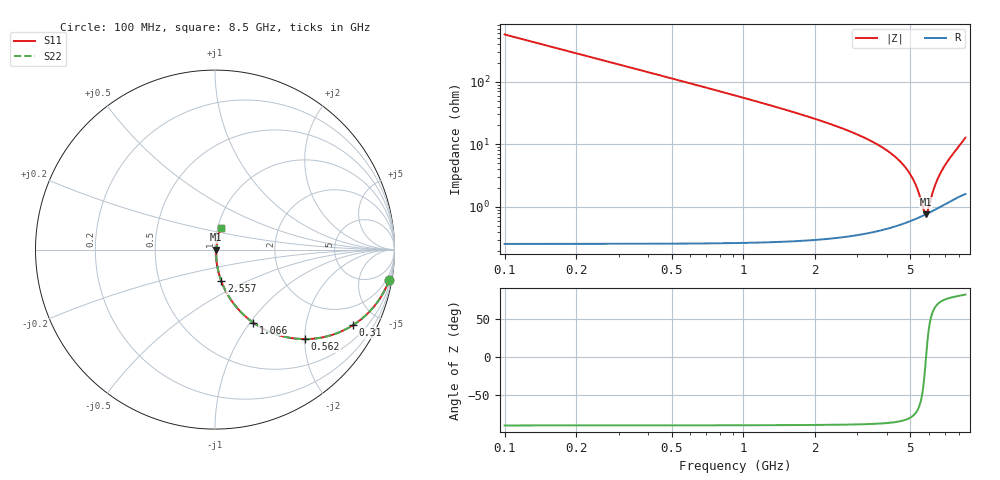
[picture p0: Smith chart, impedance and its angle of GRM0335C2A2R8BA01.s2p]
!Murata Part Number: GRM0335C2A2R8BA01
!These Parameters are Measured in Series Mode Connection
!Data Generated on Mar 30, 2021
!  o--ll--o
!Port1  Port2
!  o------o
!Operation Temp=25[degC], DC Bias Voltage=0[V]
!Freq. Start=100[MHz] Stop=9[GHz] 401[Steps]
# Hz S RI R 50
!Freq.(Hz) S11(Real) S11(Imag) S21(Real) S21(Imag) S12(Real) S12(Imag) S22(Real) S22(Imag)
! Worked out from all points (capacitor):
!   401 points, 100 MHz to 8.5 GHz, reference 50 ohm
!   read as one part in series: C = 2.8 pF near 142 MHz
!   lowest |Z| = 760 mohm at 5.812 GHz (marker M1)
!   series resonance near 5.815 GHz, so ESL is about 270 pH
!   S11 on the Smith chart (normalised r, x): 100 MHz: 1, -11; 310 MHz: 1.01, -3.66; 562 MHz: 1.01, -2.01; 1.066 GHz: 1.01, -1.03; 2.557 GHz: 1.01, -0.37; 8.5 GHz: 1.03, +0.25
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1e8  0.9699 -0.1707  0.0301 0.1707  0.0301 0.1707  0.9699 -0.1707
2.05e8  0.8844 -0.3192  0.1156 0.3192  0.1156 0.3192  0.8844 -0.3192
3.1e8  0.7695 -0.4204  0.2305 0.4204  0.2305 0.4204  0.7695 -0.4204
4.36e8  0.627 -0.4826  0.373 0.4826  0.373 0.4826  0.627 -0.4826
5.62e8  0.5015 -0.4987  0.4985 0.4987  0.4985 0.4987  0.5015 -0.4987
7.93e8  0.3325 -0.4692  0.6675 0.4692  0.6675 0.4692  0.3325 -0.4692
1.066e9  0.2122 -0.4063  0.7878 0.4063  0.7878 0.4063  0.2122 -0.4063
1.507e9  0.1135 -0.3132  0.8865 0.3132  0.8865 0.3132  0.1135 -0.3132
2.557e9  0.0353 -0.176  0.9647 0.176  0.9647 0.176  0.0353 -0.176
2.914e9  0.0253 -0.1458  0.9747 0.1458  0.9747 0.1458  0.0253 -0.1458
4.3e9  0.00881 -0.063  0.9912 0.063  0.9912 0.063  0.00881 -0.063
4.783e9  0.00722 -0.0411  0.9928 0.0411  0.9928 0.0411  0.00722 -0.0411
5.14e9  0.00682 -0.0263  0.9932 0.0263  0.9932 0.0263  0.00682 -0.0263
5.392e9  0.00688 -0.0162  0.9931 0.0162  0.9931 0.0162  0.00688 -0.0162
5.707e9  0.00731 -0.00409  0.9927 0.00409  0.9927 0.00409  0.00731 -0.00409
5.812e9  0.00754 -0.00011  0.9925 0.00011  0.9925 0.00011  0.00754 -0.00011
5.896e9  0.00775 0.00305  0.9922 -0.00305  0.9922 -0.00305  0.00775 0.00305
6.19e9  0.00869 0.014  0.9913 -0.014  0.9913 -0.014  0.00869 0.014
6.421e9  0.00965 0.0226  0.9904 -0.0226  0.9904 -0.0226  0.00965 0.0226
6.736e9  0.0113 0.0345  0.9887 -0.0345  0.9887 -0.0345  0.0113 0.0345
7.114e9  0.0137 0.0491  0.9863 -0.0491  0.9863 -0.0491  0.0137 0.0491
8.5e9  0.0309 0.1209  0.9691 -0.1209  0.9691 -0.1209  0.0309 0.1209
